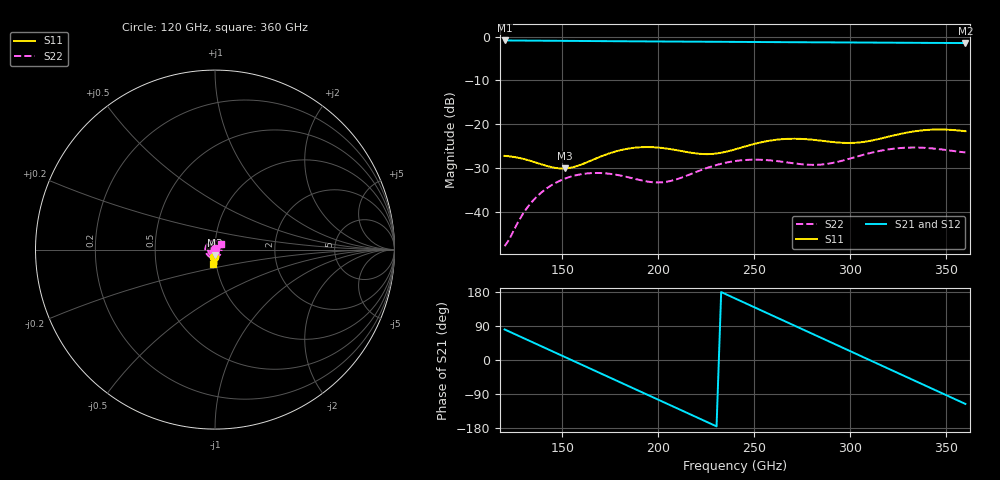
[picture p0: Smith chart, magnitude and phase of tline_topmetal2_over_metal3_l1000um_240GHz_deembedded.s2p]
! Created with skrf 2.0.1 (http://scikit-rf.org).
# GHz S DB R 50.0
!freq dBS11 angS11 dBS21 angS21 dBS12 angS12 dBS22 angS22
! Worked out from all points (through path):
!   101 points, 120 GHz to 360 GHz, reference 50 ohm
!   highest |S21| = -0.86 dB at 120 GHz (marker M1); lowest = -1.4 dB at 360 GHz (marker M2)
!   group delay of S21, straight-line fit = 6.44 ps
!   lowest |S11| = -30.1 dB at 151.2 GHz (marker M3), VSWR 1.06, Z = 49.7 - j3.08 ohm
!   |S11| at or under -10 dB: start of sweep to end of sweep
!   |S22| runs from -47.9 to -25.4 dB; largest |S21 - S12| = 1e-14
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120  -27.27 -97.1  -0.86 80.6  -0.86 80.6  -47.92 82.0
134.4  -28.53 -106.2  -0.90 47.3  -0.90 47.3  -37.69 -21.1
151.2  -30.15 -94.5  -0.95 8.3  -0.95 8.3  -32.50 -82.0
160.8  -29.11 -83.9  -0.98 -13.9  -0.98 -13.9  -31.40 -115.6
170.4  -27.36 -81.4  -1.01 -36.1  -1.01 -36.1  -31.20 -150.9
182.4  -25.76 -86.7  -1.04 -63.9  -1.04 -63.9  -31.95 159.9
192  -25.26 -93.2  -1.07 -86.2  -1.07 -86.2  -32.94 113.4
201.6  -25.43 -98.7  -1.09 -108.4  -1.09 -108.4  -33.33 59.6
220.8  -26.76 -97.3  -1.14 -152.9  -1.14 -152.9  -30.77 -43.1
230.4  -26.72 -89.9  -1.16 -175.2  -1.16 -175.2  -29.35 -85.8
240  -25.78 -84.3  -1.18 162.6  -1.18 162.6  -28.45 -125.6
249.6  -24.59 -83.7  -1.21 140.3  -1.21 140.3  -28.14 -165.0
261.6  -23.57 -88.0  -1.24 112.5  -1.24 112.5  -28.45 143.7
271.2  -23.34 -92.4  -1.26 90.2  -1.26 90.2  -29.00 98.6
280.8  -23.59 -95.5  -1.28 67.9  -1.28 67.9  -29.32 49.2
292.8  -24.18 -94.3  -1.30 40.1  -1.30 40.1  -28.69 -14.7
302.4  -24.27 -89.4  -1.32 17.8  -1.32 17.8  -27.56 -62.3
312  -23.68 -84.4  -1.34 -4.5  -1.34 -4.5  -26.45 -105.8
321.6  -22.69 -82.8  -1.37 -26.8  -1.37 -26.8  -25.68 -146.5
340.8  -21.31 -88.9  -1.41 -71.4  -1.41 -71.4  -25.49 133.4
350.4  -21.27 -93.2  -1.43 -93.7  -1.43 -93.7  -25.95 90.7
360  -21.62 -95.8  -1.45 -116.0  -1.45 -116.0  -26.47 44.5
